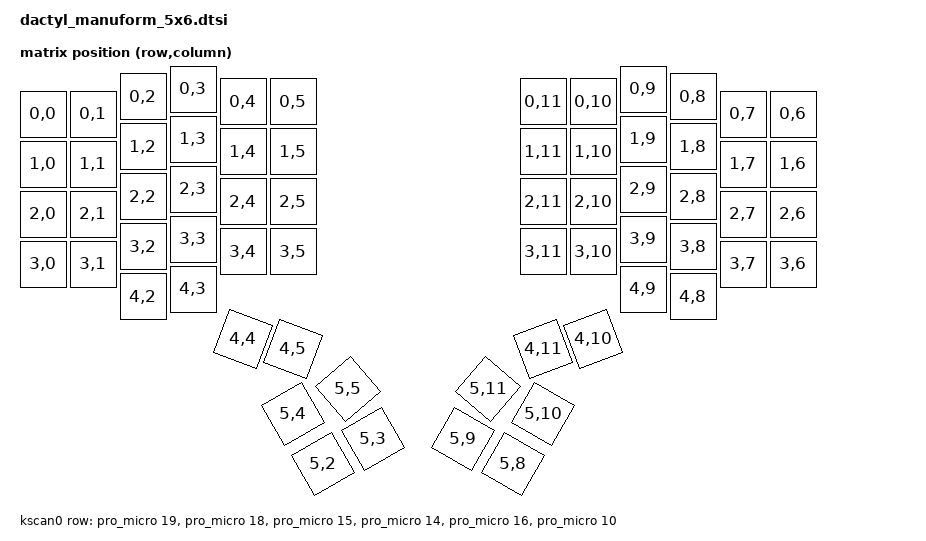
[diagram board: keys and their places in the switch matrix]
#include <dt-bindings/zmk/matrix_transform.h>
#include <physical_layouts.dtsi>

/ {
    chosen {
        zmk,kscan = &kscan0;
        zmk,physical-layout = &physical_layout;
    };

    default_transform: matrix_transform {
        compatible = "zmk,matrix-transform";
        columns = <12>;
        rows = <6>;
// | MX1  | MX2  | MX3  | MX4  | MX5  | MX6  |                 | MX7  | MX8  | MX9  | MX10 | MX11 | MX12 |
// | MX13 | MX14 | MX15 | MX16 | MX17 | MX18 |                 | MX19 | MX20 | MX21 | MX22 | MX23 | MX24 |
// | MX25 | MX26 | MX27 | MX28 | MX29 | MX30 |                 | MX31 | MX32 | MX33 | MX34 | MX35 | MX36 |
// | MX37 | MX38 | MX39 | MX40 | MX41 | MX42 |                 | MX43 | MX44 | MX45 | MX46 | MX47 | MX48 |
//               | MX49 | MX50 |                                             | MX51 | MX52 |
//                             | MX53 | MX54 |                 | MX55 | MX56 |
//                                    | MX57 | MX58 |   | MX59 | MX60 |
//                                    | MX61 | MX62 |   | MX63 | MX64 |
        map = <
RC(0,0) RC(0,1) RC(0,2) RC(0,3) RC(0,4) RC(0,5)                   RC(0,11) RC(0,10) RC(0,9) RC(0,8) RC(0,7) RC(0,6)
RC(1,0) RC(1,1) RC(1,2) RC(1,3) RC(1,4) RC(1,5)                   RC(1,11) RC(1,10) RC(1,9) RC(1,8) RC(1,7) RC(1,6)
RC(2,0) RC(2,1) RC(2,2) RC(2,3) RC(2,4) RC(2,5)                   RC(2,11) RC(2,10) RC(2,9) RC(2,8) RC(2,7) RC(2,6)
RC(3,0) RC(3,1) RC(3,2) RC(3,3) RC(3,4) RC(3,5)                   RC(3,11) RC(3,10) RC(3,9) RC(3,8) RC(3,7) RC(3,6)
                RC(4,2) RC(4,3)                                                     RC(4,9) RC(4,8)
                                RC(4,4) RC(4,5)                   RC(4,11) RC(4,10)
                                        RC(5,4) RC(5,5)  RC(5,11) RC(5,10)
                                        RC(5,2) RC(5,3)  RC(5,9)  RC(5,8)
        >;
    };

    physical_layout: physical_layout {
        compatible = "zmk,physical-layout";
        display-name = "Custom Layout";
        transform = <&default_transform>;

        keys =
            <&key_physical_attrs 100 100    0  150       0     0     0>,  // MX1 (row0 col0)
            <&key_physical_attrs 100 100  100  150       0     0     0>,  // MX2 (row0 col1)
            <&key_physical_attrs 100 100  200  115       0     0     0>,  // MX3 (row0 col2)
            <&key_physical_attrs 100 100  300  100       0     0     0>,  // MX4 (row0 col3)
            <&key_physical_attrs 100 100  400  125       0     0     0>,  // MX5 (row0 col4)
            <&key_physical_attrs 100 100  500  125       0     0     0>,  // MX6 (row0 col5)
            <&key_physical_attrs 100 100 1000  125       0     0     0>,  // MX7 (row0 col11)
            <&key_physical_attrs 100 100 1100  125       0     0     0>,  // MX8 (row0 col10)
            <&key_physical_attrs 100 100 1200  100       0     0     0>,  // MX9 (row0 col9)
            <&key_physical_attrs 100 100 1300  115       0     0     0>,  // MX10 (row0 col8)
            <&key_physical_attrs 100 100 1400  150       0     0     0>,  // MX11 (row0 col7)
            <&key_physical_attrs 100 100 1500  150       0     0     0>,  // MX12 (row0 col6)
            <&key_physical_attrs 100 100    0  250       0     0     0>,  // MX13 (row1 col0)
            <&key_physical_attrs 100 100  100  250       0     0     0>,  // MX14 (row1 col1)
            <&key_physical_attrs 100 100  200  215       0     0     0>,  // MX15 (row1 col2)
            <&key_physical_attrs 100 100  300  200       0     0     0>,  // MX16 (row1 col3)
            <&key_physical_attrs 100 100  400  225       0     0     0>,  // MX17 (row1 col4)
            <&key_physical_attrs 100 100  500  225       0     0     0>,  // MX18 (row1 col5)
            <&key_physical_attrs 100 100 1000  225       0     0     0>,  // MX19 (row1 col11)
            <&key_physical_attrs 100 100 1100  225       0     0     0>,  // MX20 (row1 col10)
            <&key_physical_attrs 100 100 1200  200       0     0     0>,  // MX21 (row1 col9)
            <&key_physical_attrs 100 100 1300  215       0     0     0>,  // MX22 (row1 col8)
            <&key_physical_attrs 100 100 1400  250       0     0     0>,  // MX23 (row1 col7)
            <&key_physical_attrs 100 100 1500  250       0     0     0>,  // MX24 (row1 col6)
            <&key_physical_attrs 100 100    0  350       0     0     0>,  // MX25 (row2 col0)
            <&key_physical_attrs 100 100  100  350       0     0     0>,  // MX26 (row2 col1)
            <&key_physical_attrs 100 100  200  315       0     0     0>,  // MX27 (row2 col2)
            <&key_physical_attrs 100 100  300  300       0     0     0>,  // MX28 (row2 col3)
            <&key_physical_attrs 100 100  400  325       0     0     0>,  // MX29 (row2 col4)
            <&key_physical_attrs 100 100  500  325       0     0     0>,  // MX30 (row2 col5)
            <&key_physical_attrs 100 100 1000  325       0     0     0>,  // MX31 (row2 col11)
            <&key_physical_attrs 100 100 1100  325       0     0     0>,  // MX32 (row2 col10)
            <&key_physical_attrs 100 100 1200  300       0     0     0>,  // MX33 (row2 col9)
            <&key_physical_attrs 100 100 1300  315       0     0     0>,  // MX34 (row2 col8)
            <&key_physical_attrs 100 100 1400  350       0     0     0>,  // MX35 (row2 col7)
            <&key_physical_attrs 100 100 1500  350       0     0     0>,  // MX36 (row2 col6)
            <&key_physical_attrs 100 100    0  450       0     0     0>,  // MX37 (row3 col0)
            <&key_physical_attrs 100 100  100  450       0     0     0>,  // MX38 (row3 col1)
            <&key_physical_attrs 100 100  200  415       0     0     0>,  // MX39 (row3 col2)
            <&key_physical_attrs 100 100  300  400       0     0     0>,  // MX40 (row3 col3)
            <&key_physical_attrs 100 100  400  425       0     0     0>,  // MX41 (row3 col4)
            <&key_physical_attrs 100 100  500  425       0     0     0>,  // MX42 (row3 col5)
            <&key_physical_attrs 100 100 1000  425       0     0     0>,  // MX43 (row3 col11)
            <&key_physical_attrs 100 100 1100  425       0     0     0>,  // MX44 (row3 col10)
            <&key_physical_attrs 100 100 1200  400       0     0     0>,  // MX45 (row3 col9)
            <&key_physical_attrs 100 100 1300  415       0     0     0>,  // MX46 (row3 col8)
            <&key_physical_attrs 100 100 1400  450       0     0     0>,  // MX47 (row3 col7)
            <&key_physical_attrs 100 100 1500  450       0     0     0>,  // MX48 (row3 col6)
            <&key_physical_attrs 100 100  200  515       0     0     0>,  // MX49 (row4 col2)
            <&key_physical_attrs 100 100  300  500       0     0     0>,  // MX50 (row4 col3)
            <&key_physical_attrs 100 100 1200  500       0     0     0>,  // MX51 (row4 col9)
            <&key_physical_attrs 100 100 1300  515       0     0     0>,  // MX52 (row4 col8)
            <&key_physical_attrs 100 100  400  600    2000   450   650>,  // MX53 (row4 col4)
            <&key_physical_attrs 100 100  500  620    2000   550   670>,  // MX54 (row4 col5)
            <&key_physical_attrs 100 100 1000  620 (-2000)  1050   670>,  // MX55 (row4 col11)
            <&key_physical_attrs 100 100 1100  600 (-2000)  1150   650>,  // MX56 (row4 col10)
            <&key_physical_attrs 100 100  500  750    6000   550   800>,  // MX57 (row5 col4)
            <&key_physical_attrs 100 100  610  700    5000   660   750>,  // MX58 (row5 col5)
            <&key_physical_attrs 100 100  890  700 (-5000)   940   750>,  // MX59 (row5 col11)
            <&key_physical_attrs 100 100 1000  750 (-6000)  1050   800>,  // MX60 (row5 col10)
            <&key_physical_attrs 100 100  560  850    6000   610   900>,  // MX61 (row5 col2)
            <&key_physical_attrs 100 100  660  800    6000   710   850>,  // MX62 (row5 col3)
            <&key_physical_attrs 100 100  840  800 (-6000)   890   850>,  // MX63 (row5 col9)
            <&key_physical_attrs 100 100  940  850 (-6000)   990   900>;  // MX64 (row5 col8)
    };

    kscan0: kscan {
        compatible = "zmk,kscan-gpio-matrix";
        label = "KSCAN";

        diode-direction = "col2row";
        row-gpios
            = <&pro_micro 19 (GPIO_ACTIVE_HIGH | GPIO_PULL_DOWN)>
            , <&pro_micro 18 (GPIO_ACTIVE_HIGH | GPIO_PULL_DOWN)>
            , <&pro_micro 15 (GPIO_ACTIVE_HIGH | GPIO_PULL_DOWN)>
            , <&pro_micro 14 (GPIO_ACTIVE_HIGH | GPIO_PULL_DOWN)>
            , <&pro_micro 16 (GPIO_ACTIVE_HIGH | GPIO_PULL_DOWN)>
            , <&pro_micro 10 (GPIO_ACTIVE_HIGH | GPIO_PULL_DOWN)>
            ;

    };
};
